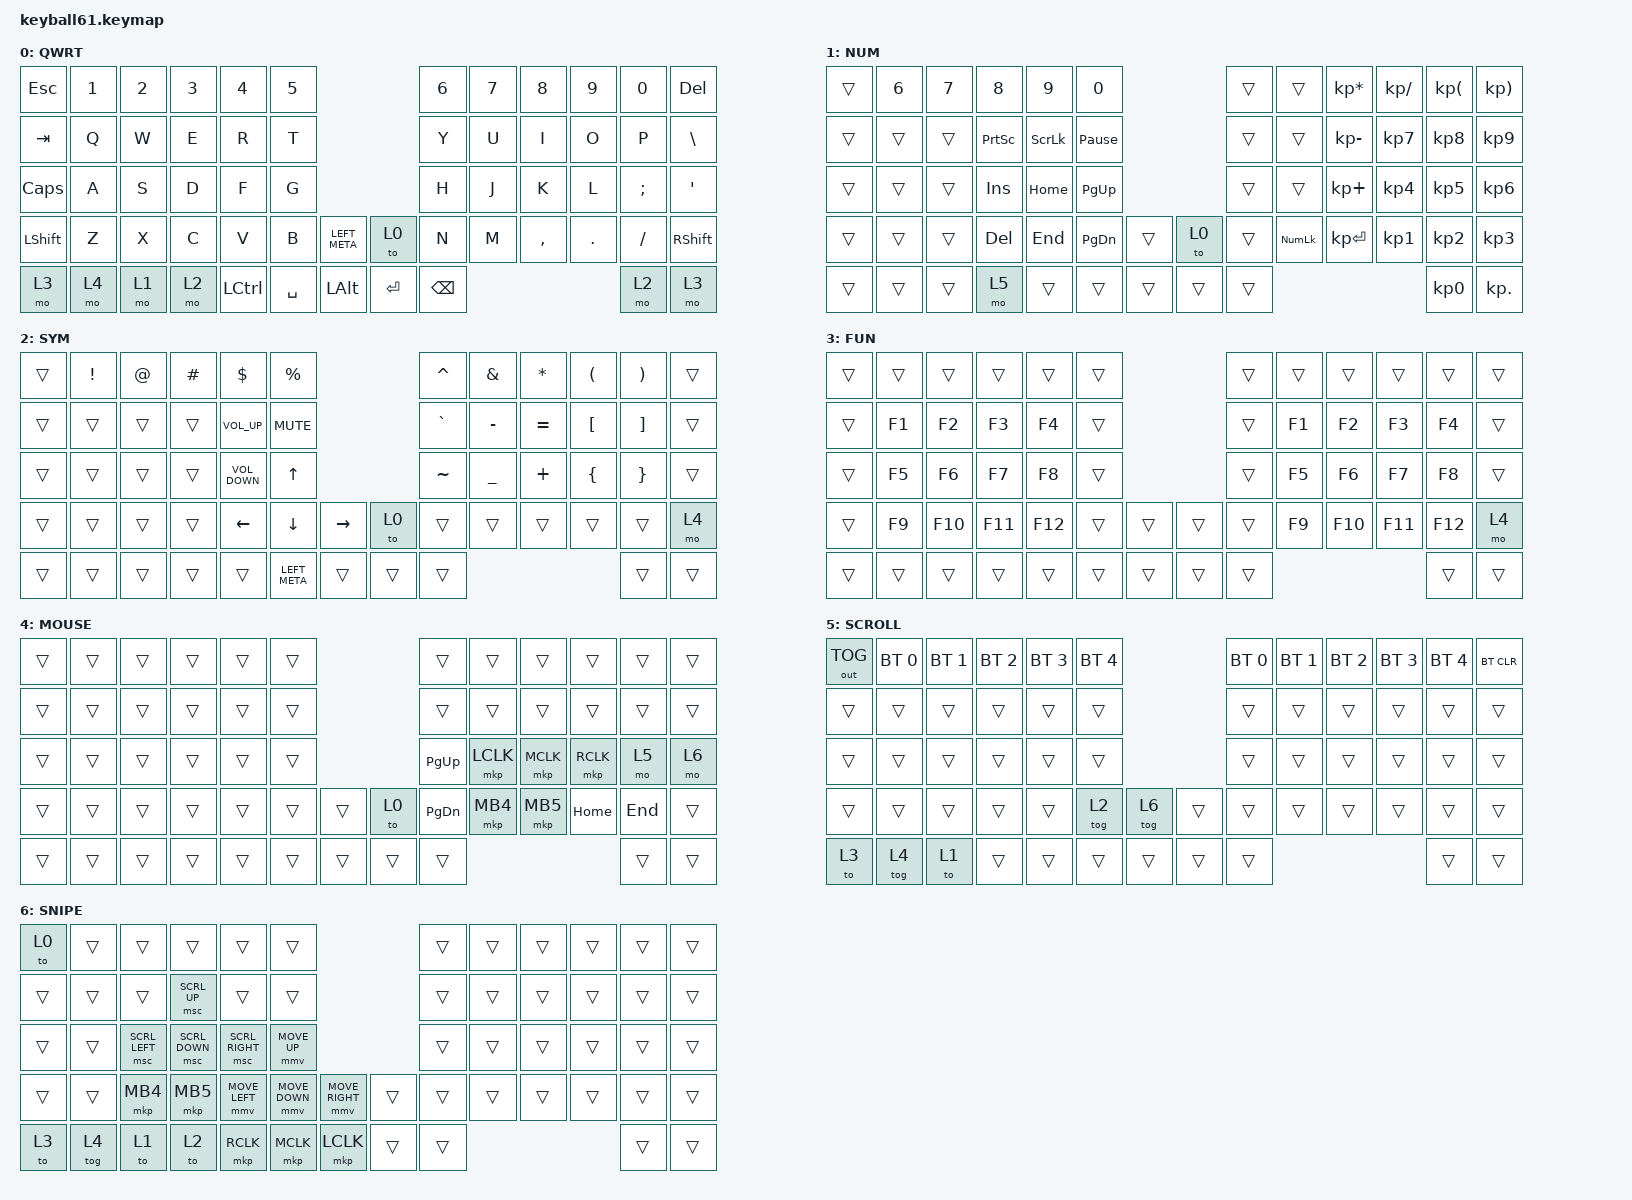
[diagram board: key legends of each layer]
#define DEFAULT 0
#define SYM     1
#define FUN     2
#define MOUSE   3
#define SCROLL  4
#define SNIPE   5

#include <behaviors/mouse_keys.dtsi>
#include <dt-bindings/zmk/mouse.h>
#include <behaviors.dtsi>
#include <dt-bindings/zmk/bt.h>
#include <dt-bindings/zmk/keys.h>
#include <dt-bindings/zmk/outputs.h>
#include <dt-bindings/zmk/pointing.h>

&lt {
    tapping-term-ms = <240>;
    flavor = "balanced";
    quick-tap-ms = <150>;
};

&mt {
    tapping-term-ms = <200>;
    flavor = "tap-preferred";
    quick-tap-ms = <150>;
};

/ {
    keymap {
        compatible = "zmk,keymap";

        default_layer {
            label = "QWRT";
            bindings = <
&kp ESC         &kp N1  &kp N2  &kp N3  &kp N4     &kp N5                               &kp N6         &kp N7  &kp N8     &kp N9   &kp N0    &kp DEL
&kp TAB         &kp Q   &kp W   &kp E   &kp R      &kp T                                &kp Y          &kp U   &kp I      &kp O    &kp P     &kp BACKSLASH
&kp CAPS        &kp A   &kp S   &kp D   &kp F      &kp G                                &kp H          &kp J   &kp K      &kp L    &kp SEMI  &kp SQT
&kp LEFT_SHIFT  &kp Z   &kp X   &kp C   &kp V      &kp B      &kp LEFT_META  &to 0      &kp N          &kp M   &kp COMMA  &kp DOT  &kp FSLH  &kp RSHIFT
&mo 3           &mo 4   &mo 1   &mo 2   &kp LCTRL  &kp SPACE  &kp LALT       &kp ENTER  &kp BACKSPACE                              &mo 2     &mo 3
            >;
        };

        number_layer {
            bindings = <
&trans  &kp NUMBER_6  &kp N7  &kp N8           &kp N9          &kp N0                           &trans  &trans          &kp KP_ASTERISK  &kp KP_DIVIDE  &kp KP_LEFT_PARENTHESIS  &kp KP_RIGHT_PARENTHESIS
&trans  &trans        &trans  &kp PRINTSCREEN  &kp SCROLLLOCK  &kp PAUSE_BREAK                  &trans  &trans          &kp KP_MINUS     &kp KP_N7      &kp KP_N8                &kp KP_N9
&trans  &trans        &trans  &kp INSERT       &kp HOME        &kp PAGE_UP                      &trans  &trans          &kp KP_PLUS      &kp KP_N4      &kp KP_N5                &kp KP_N6
&trans  &trans        &trans  &kp DELETE       &kp END         &kp PAGE_DOWN    &trans  &to 0   &trans  &kp KP_NUMLOCK  &kp KP_ENTER     &kp KP_N1      &kp KP_N2                &kp KP_N3
&trans  &trans        &trans  &mo 5            &trans          &trans           &trans  &trans  &trans                                                  &kp KP_N0                &kp KP_DOT
            >;

            label = "NUM";
        };

        symbol_layer {
            label = "SYM";
            bindings = <
&trans  &kp EXCLAMATION  &kp AT_SIGN  &kp HASH  &kp DOLLAR         &kp PERCENT                       &kp CARET  &kp AMPERSAND   &kp ASTERISK  &kp LEFT_PARENTHESIS  &kp RIGHT_PARENTHESIS  &trans
&trans  &trans           &trans       &trans    &kp C_VOLUME_UP    &kp C_MUTE                        &kp GRAVE  &kp MINUS       &kp EQUAL     &kp LEFT_BRACKET      &kp RIGHT_BRACKET      &trans
&trans  &trans           &trans       &trans    &kp C_VOLUME_DOWN  &kp UP_ARROW                      &kp TILDE  &kp UNDERSCORE  &kp PLUS      &kp LEFT_BRACE        &kp RIGHT_BRACE        &trans
&trans  &trans           &trans       &trans    &kp LEFT           &kp DOWN       &kp RIGHT  &to 0   &trans     &trans          &trans        &trans                &trans                 &mo 4
&trans  &trans           &trans       &trans    &trans             &kp LEFT_META  &trans     &trans  &trans                                                         &trans                 &trans
            >;
        };

        function_layer {
            label = "FUN";
            bindings = <
&trans  &trans  &trans   &trans   &trans   &trans                  &trans  &trans  &trans   &trans   &trans   &trans
&trans  &kp F1  &kp F2   &kp F3   &kp F4   &trans                  &trans  &kp F1  &kp F2   &kp F3   &kp F4   &trans
&trans  &kp F5  &kp F6   &kp F7   &kp F8   &trans                  &trans  &kp F5  &kp F6   &kp F7   &kp F8   &trans
&trans  &kp F9  &kp F10  &kp F11  &kp F12  &trans  &trans  &trans  &trans  &kp F9  &kp F10  &kp F11  &kp F12  &mo 4
&trans  &trans  &trans   &trans   &trans   &trans  &trans  &trans  &trans                            &trans   &trans
            >;
        };

        mouse_layer {
            label = "MOUSE";
            bindings = <
&trans  &trans  &trans  &trans  &trans  &trans                  &trans         &trans     &trans     &trans     &trans   &trans
&trans  &trans  &trans  &trans  &trans  &trans                  &trans         &trans     &trans     &trans     &trans   &trans
&trans  &trans  &trans  &trans  &trans  &trans                  &kp PAGE_UP    &mkp LCLK  &mkp MCLK  &mkp RCLK  &mo 5    &mo 6
&trans  &trans  &trans  &trans  &trans  &trans  &trans  &to 0   &kp PAGE_DOWN  &mkp MB4   &mkp MB5   &kp HOME   &kp END  &trans
&trans  &trans  &trans  &trans  &trans  &trans  &trans  &trans  &trans                                          &trans   &trans
            >;
        };

        scroll_layer {
            label = "SCROLL";
            bindings = <
&out OUT_TOG  &bt BT_SEL 0  &bt BT_SEL 1  &bt BT_SEL 2  &bt BT_SEL 3  &bt BT_SEL 4                  &bt BT_SEL 0  &bt BT_SEL 1  &bt BT_SEL 2  &bt BT_SEL 3  &bt BT_SEL 4  &bt BT_CLR
&trans        &trans        &trans        &trans        &trans        &trans                        &trans        &trans        &trans        &trans        &trans        &trans
&trans        &trans        &trans        &trans        &trans        &trans                        &trans        &trans        &trans        &trans        &trans        &trans
&trans        &trans        &trans        &trans        &trans        &tog 2        &tog 6  &trans  &trans        &trans        &trans        &trans        &trans        &trans
&to 3         &tog 4        &to 1         &trans        &trans        &trans        &trans  &trans  &trans                                                  &trans        &trans
            >;
        };

        snipe_layer {
            label = "SNIPE";
            bindings = <
&to 0   &trans  &trans          &trans          &trans           &trans                                   &trans  &trans  &trans  &trans  &trans  &trans
&trans  &trans  &trans          &msc SCRL_UP    &trans           &trans                                   &trans  &trans  &trans  &trans  &trans  &trans
&trans  &trans  &msc SCRL_LEFT  &msc SCRL_DOWN  &msc SCRL_RIGHT  &mmv MOVE_UP                             &trans  &trans  &trans  &trans  &trans  &trans
&trans  &trans  &mkp MB4        &mkp MB5        &mmv MOVE_LEFT   &mmv MOVE_DOWN  &mmv MOVE_RIGHT  &trans  &trans  &trans  &trans  &trans  &trans  &trans
&to 3   &tog 4  &to 1           &to 2           &mkp RCLK        &mkp MCLK       &mkp LCLK        &trans  &trans                          &trans  &trans
            >;
        };
    };
};
